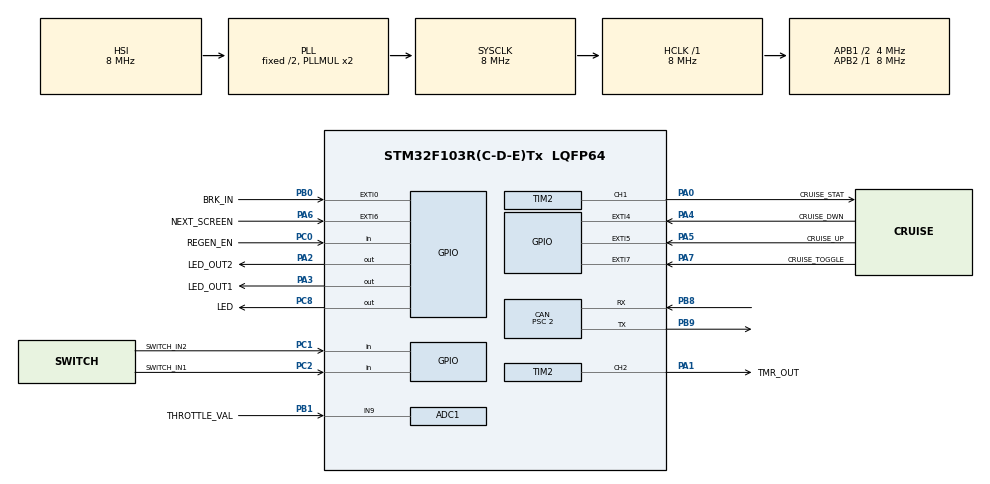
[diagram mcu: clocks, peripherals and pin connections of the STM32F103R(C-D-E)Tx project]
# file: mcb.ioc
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ADC1.Channel-1\#ChannelRegularConversion=ADC_CHANNEL_9
ADC1.NbrOfConversionFlag=1
ADC1.Rank-1\#ChannelRegularConversion=1
ADC1.SamplingTime-1\#ChannelRegularConversion=ADC_SAMPLETIME_1CYCLE_5
ADC1.master=1
CAN.BS1=CAN_BS1_2TQ
CAN.CalculateBaudRate=500000
CAN.CalculateTimeBit=2000
CAN.CalculateTimeQuantum=500.0
CAN.Prescaler=2
FREERTOS.Tasks01=defaultTask,24,128,StartDefaultTask,Default,NULL,Dynamic,NULL,NULL;drive_state_machine,32,128,task_drive_state_machine,Default,NULL,Dynamic,NULL,NULL;GetCANMessage,32,128,getCANMessage,Default,NULL,Dynamic,NULL,NULL;generic_100ms,24,128,task_generic_100ms,Default,NULL,Dynamic,NULL,NULL
FREERTOS.configMAX_TASK_NAME_LEN=32
FREERTOS.configTOTAL_HEAP_SIZE=10000
IWDG.Reload=2000
Mcu.Family=STM32F1
Mcu.Name=STM32F103R(C-D-E)Tx
Mcu.Package=LQFP64
NVIC.EXTI0_IRQn=true\:5\:0\:false\:false\:true\:false\:true\:true\:true
NVIC.EXTI4_IRQn=true\:5\:0\:false\:false\:true\:false\:true\:true\:true
NVIC.EXTI9_5_IRQn=true\:5\:0\:false\:false\:true\:false\:true\:true\:true
NVIC.PriorityGroup=NVIC_PRIORITYGROUP_4
NVIC.TIM4_IRQn=true\:15\:0\:false\:false\:true\:false\:false\:true\:true
NVIC.TimeBase=TIM4_IRQn
NVIC.TimeBaseIP=TIM4
NVIC.USB_LP_CAN1_RX0_IRQn=true\:5\:0\:false\:false\:true\:true\:true\:true\:true
PA0-WKUP.GPIO_Label=CRUISE_STAT
PA0-WKUP.Signal=S_TIM2_CH1_ETR
PA1.GPIO_Label=TMR_OUT
PA1.Signal=S_TIM2_CH2
PA13.GPIO_Label=TMS
PA13.Mode=Serial_Wire
PA13.Signal=SYS_JTMS-SWDIO
PA14.GPIO_Label=TCK
PA14.Mode=Serial_Wire
PA14.Signal=SYS_JTCK-SWCLK
PA2.GPIO_Label=LED_OUT2
PA2.Signal=GPIO_Output
PA3.GPIO_Label=LED_OUT1
PA3.Signal=GPIO_Output
PA4.GPIO_Label=CRUISE_DWN
PA4.GPIO_PuPd=GPIO_PULLDOWN
PA4.Signal=GPXTI4
PA5.GPIO_Label=CRUISE_UP
PA5.GPIO_PuPd=GPIO_PULLDOWN
PA5.Signal=GPXTI5
PA6.GPIO_Label=NEXT_SCREEN
PA6.GPIO_PuPd=GPIO_PULLDOWN
PA6.Signal=GPXTI6
PA7.GPIO_Label=CRUISE_TOGGLE
PA7.GPIO_PuPd=GPIO_PULLDOWN
PA7.Signal=GPXTI7
PB0.GPIO_Label=BRK_IN
PB0.GPIO_PuPd=GPIO_PULLDOWN
PB0.Signal=GPXTI0
PB1.GPIO_Label=THROTTLE_VAL
PB1.Signal=ADCx_IN9
PB3.GPIO_Label=SWO
PB3.Signal=SYS_JTDO-TRACESWO
PB8.Mode=CAN_Activate
PB8.Signal=CAN_RX
PB9.Mode=CAN_Activate
PB9.Signal=CAN_TX
PC0.GPIO_Label=REGEN_EN
PC0.GPIO_PuPd=GPIO_PULLDOWN
PC0.Signal=GPIO_Input
PC1.GPIO_Label=SWITCH_IN2
PC1.GPIO_PuPd=GPIO_PULLUP
PC1.Signal=GPIO_Input
PC14-OSC32_IN.Mode=LSE-External-Oscillator
PC14-OSC32_IN.Signal=RCC_OSC32_IN
PC15-OSC32_OUT.Mode=LSE-External-Oscillator
PC15-OSC32_OUT.Signal=RCC_OSC32_OUT
PC2.GPIO_Label=SWITCH_IN1
PC2.GPIO_PuPd=GPIO_PULLUP
PC2.Signal=GPIO_Input
PC8.GPIO_Label=LED
PC8.Signal=GPIO_Output
PD0-OSC_IN.Mode=HSE-External-Clock-Source
PD0-OSC_IN.Signal=RCC_OSC_IN
PD1-OSC_OUT.Mode=HSE-External-Clock-Source
PD1-OSC_OUT.Signal=RCC_OSC_OUT
ProjectManager.HeapSize=0x200
ProjectManager.StackSize=0x400
ProjectManager.TargetToolchain=STM32CubeIDE
RCC.AHBFreq_Value=8000000
RCC.APB1CLKDivider=RCC_HCLK_DIV2
RCC.APB1Freq_Value=4000000
RCC.APB1TimFreq_Value=8000000
RCC.APB2Freq_Value=8000000
RCC.APB2TimFreq_Value=8000000
RCC.HCLKFreq_Value=8000000
RCC.SYSCLKFreq_VALUE=8000000
RCC.SYSCLKSource=RCC_SYSCLKSOURCE_PLLCLK
RCC.USBFreq_Value=8000000
SH.ADCx_IN9.0=ADC1_IN9,IN9
SH.S_TIM2_CH1_ETR.0=TIM2_CH1,PWM Generation1 CH1
SH.S_TIM2_CH2.0=TIM2_CH2,PWM Generation2 CH2
TIM2.Channel-PWM\ Generation1\ CH1=TIM_CHANNEL_1
TIM2.Channel-PWM\ Generation2\ CH2=TIM_CHANNEL_2
TIM2.Period=10000
TIM2.Prescaler=6400
VP_FREERTOS_VS_CMSIS_V2.Mode=CMSIS_V2
VP_IWDG_VS_IWDG.Mode=IWDG_Activate
VP_SYS_VS_tim4.Mode=TIM4
VP_TIM2_VS_ClockSourceINT.Mode=Internal
board=custom

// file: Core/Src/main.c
/* USER CODE BEGIN Header */
/**
  ******************************************************************************
  * @file           : main.c
  * @brief          : Main program body
  ******************************************************************************
  * @attention
  *
  * Copyright (c) 2023 STMicroelectronics.
  * All rights reserved.
  *
  * This software is licensed under terms that can be found in the LICENSE file
  * in the root directory of this software component.
  * If no LICENSE file comes with this software, it is provided AS-IS.
  *
  ******************************************************************************
  */
/* USER CODE END Header */
#include "main.h"
#include "cmsis_os.h"
#include "adc.h"
#include "can.h"
#include "iwdg.h"
#include "tim.h"
#include "gpio.h"

/* USER CODE BEGIN PV */
CAN_FilterTypeDef CAN_filter0;
CAN_FilterTypeDef CAN_filter1;
CAN_FilterTypeDef CAN_filter2;

CAN_RxHeaderTypeDef CAN_rx_header;
uint8_t CAN_rx_data[8];
/* USER CODE END PV */

void SystemClock_Config(void);
void MX_FREERTOS_Init(void);

int main(void)
{

  /* MCU Configuration--------------------------------------------------------*/

  /* Reset of all peripherals, Initializes the Flash interface and the Systick. */
  HAL_Init();

  /* Configure the system clock */
  SystemClock_Config();

  /* Initialize all configured peripherals */
  MX_GPIO_Init();
  MX_CAN_Init();
  MX_ADC1_Init();
  MX_TIM2_Init();
  MX_IWDG_Init();
  /* USER CODE BEGIN 2 */

  CanFilterSetup();
  HAL_CAN_Start(&hcan);
  HAL_CAN_ActivateNotification(&hcan, CAN_IT_RX_FIFO0_MSG_PENDING);

  // Set up the PWM for the lights
  TIM2->CCR2 = 5000;
  HAL_TIM_PWM_Start(&htim2, TIM_CHANNEL_2);
  /* USER CODE END 2 */

  /* Init scheduler */
  osKernelInitialize();

  /* Call init function for freertos objects (in freertos.c) */
  MX_FREERTOS_Init();

  /* Start scheduler */
  osKernelStart();

  /* We should never get here as control is now taken by the scheduler */
  /* Infinite loop */
  while (1)
  {

  }
}

void SystemClock_Config(void)
{
  RCC_OscInitTypeDef RCC_OscInitStruct = {0};
  RCC_ClkInitTypeDef RCC_ClkInitStruct = {0};
  RCC_PeriphCLKInitTypeDef PeriphClkInit = {0};

  /** Initializes the RCC Oscillators according to the specified parameters
  * in the RCC_OscInitTypeDef structure.
  */
  RCC_OscInitStruct.OscillatorType = RCC_OSCILLATORTYPE_HSI|RCC_OSCILLATORTYPE_LSI;
  RCC_OscInitStruct.HSIState = RCC_HSI_ON;
  RCC_OscInitStruct.HSICalibrationValue = RCC_HSICALIBRATION_DEFAULT;
  RCC_OscInitStruct.LSIState = RCC_LSI_ON;
  RCC_OscInitStruct.PLL.PLLState = RCC_PLL_ON;
  RCC_OscInitStruct.PLL.PLLSource = RCC_PLLSOURCE_HSI_DIV2;
  RCC_OscInitStruct.PLL.PLLMUL = RCC_PLL_MUL2;
  if (HAL_RCC_OscConfig(&RCC_OscInitStruct) != HAL_OK)
  {
    Error_Handler();
  }

  /** Initializes the CPU, AHB and APB buses clocks
  */
  RCC_ClkInitStruct.ClockType = RCC_CLOCKTYPE_HCLK|RCC_CLOCKTYPE_SYSCLK
                              |RCC_CLOCKTYPE_PCLK1|RCC_CLOCKTYPE_PCLK2;
  RCC_ClkInitStruct.SYSCLKSource = RCC_SYSCLKSOURCE_PLLCLK;
  RCC_ClkInitStruct.AHBCLKDivider = RCC_SYSCLK_DIV1;
  RCC_ClkInitStruct.APB1CLKDivider = RCC_HCLK_DIV2;
  RCC_ClkInitStruct.APB2CLKDivider = RCC_HCLK_DIV1;

  if (HAL_RCC_ClockConfig(&RCC_ClkInitStruct, FLASH_LATENCY_0) != HAL_OK)
  {
    Error_Handler();
  }
  PeriphClkInit.PeriphClockSelection = RCC_PERIPHCLK_ADC;
  PeriphClkInit.AdcClockSelection = RCC_ADCPCLK2_DIV2;
  if (HAL_RCCEx_PeriphCLKConfig(&PeriphClkInit) != HAL_OK)
  {
    Error_Handler();
  }
}

void HAL_TIM_PeriodElapsedCallback(TIM_HandleTypeDef *htim)
{
  if (htim->Instance == TIM4) {
    HAL_IncTick();
  }
}

void Error_Handler(void)
{
  __disable_irq();
  while (1)
  {
  }
}

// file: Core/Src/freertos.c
/* USER CODE BEGIN Header */
/**
  ******************************************************************************
  * File Name          : freertos.c
  * Description        : Code for freertos applications
  ******************************************************************************
  * @attention
  *
  * Copyright (c) 2023 STMicroelectronics.
  * All rights reserved.
  *
  * This software is licensed under terms that can be found in the LICENSE file
  * in the root directory of this software component.
  * If no LICENSE file comes with this software, it is provided AS-IS.
  *
  ******************************************************************************
  */

/* USER CODE END Header */

#include "FreeRTOS.h"
#include "task.h"
#include "main.h"
#include "cmsis_os.h"

/* USER CODE BEGIN Includes */
#include "mcb.h"
#include "can.h"
#include "iwdg.h"
#include "canbusload.h"
/* USER CODE END Includes */

/* USER CODE BEGIN Variables */
uint16_t ADC_throttle_val;
uint16_t ADC_regen_val;

GPIO_PinState Reverse;
GPIO_PinState Park;
GPIO_PinState Drive;
GPIO_PinState Regen;

/*
 *  These are global so I can view their value in the Live Expressions tab, will move to task later.
 */
float current;
float velocity;

/* USER CODE END Variables */
/* Definitions for defaultTask */
osThreadId_t defaultTaskHandle;
const osThreadAttr_t defaultTask_attributes = {
  .name = "defaultTask",
  .stack_size = 128 * 4,
  .priority = (osPriority_t) osPriorityNormal,
};
/* Definitions for drive_state_machine */
osThreadId_t drive_state_machineHandle;
const osThreadAttr_t drive_state_machine_attributes = {
  .name = "drive_state_machine",
  .stack_size = 128 * 4,
  .priority = (osPriority_t) osPriorityAboveNormal,
};
/* Definitions for GetCANMessage */
osThreadId_t GetCANMessageHandle;
const osThreadAttr_t GetCANMessage_attributes = {
  .name = "GetCANMessage",
  .stack_size = 128 * 4,
  .priority = (osPriority_t) osPriorityAboveNormal,
};
/* Definitions for generic_100ms */
osThreadId_t generic_100msHandle;
const osThreadAttr_t generic_100ms_attributes = {
  .name = "generic_100ms",
  .stack_size = 128 * 4,
  .priority = (osPriority_t) osPriorityNormal,
};

void StartDefaultTask(void *argument);
void task_drive_state_machine(void *argument);
void getCANMessage(void *argument);
void task_generic_100ms(void *argument);

void MX_FREERTOS_Init(void); /* (MISRA C 2004 rule 8.1) */

void MX_FREERTOS_Init(void) {

  /* Create the thread(s) */
  /* creation of defaultTask */
  defaultTaskHandle = osThreadNew(StartDefaultTask, NULL, &defaultTask_attributes);

  /* creation of drive_state_machine */
  drive_state_machineHandle = osThreadNew(task_drive_state_machine, NULL, &drive_state_machine_attributes);

  /* creation of GetCANMessage */
  GetCANMessageHandle = osThreadNew(getCANMessage, NULL, &GetCANMessage_attributes);

  /* creation of generic_100ms */
  generic_100msHandle = osThreadNew(task_generic_100ms, NULL, &generic_100ms_attributes);

}

void StartDefaultTask(void *argument)
{
  /* USER CODE BEGIN StartDefaultTask */
  /* Infinite loop */
  for(;;)
  {
    #ifndef DEBUG
	  HAL_IWDG_Refresh(&hiwdg);
    #endif
	  osDelay(100);
    CANLOAD_get_bus_load();
  }
  /* USER CODE END StartDefaultTask */
}

void task_drive_state_machine(void *argument)
{
  /* USER CODE BEGIN task_drive_state_machine */
  /* Infinite loop */
  for(;;)
  {
    taskENTER_CRITICAL();

//    drive_state_machine_handler();

    taskEXIT_CRITICAL();
	  osDelay(DELAY_MCB_STATE_MACHINE);
  }
  /* USER CODE END task_drive_state_machine */
}

void getCANMessage(void *argument)
{
  /* USER CODE BEGIN getCANMessage */
	TaskGetCANMessage();
  /* USER CODE END getCANMessage */
}

void task_generic_100ms(void *argument)
{
  /* USER CODE BEGIN task_generic_100ms */

  static uint64_t counter = 0;
  /* Infinite loop */
  for(;;)
  {
    // Sends MCB drive state
//    SendCANDIDDriveState();

    // Sends MCB diagnostics
//    send_mcb_diagnostics();

    osDelay(10); // We need a small delay in between sending since the tx buffer is only 2 message
    // Send MCB githash every 10000ms
    if(counter % 100 == 0)
    {
//      send_mcb_githash();
    }

    counter++;
    osDelay(90);
  }
  /* USER CODE END task_generic_100ms */
}
